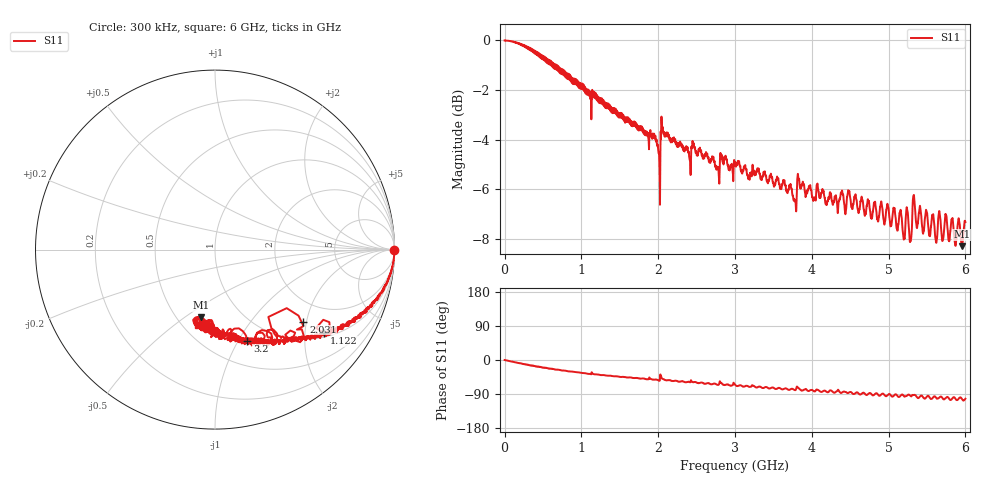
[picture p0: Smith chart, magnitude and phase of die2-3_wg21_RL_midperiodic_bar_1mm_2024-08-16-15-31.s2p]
!Keysight Technologies,P9374A,MY57304198,A.17.20.09
!Date: Friday, August 16, 2024 15:31:15
!Correction: S11(C  1-Port  )
!S21(C  1-Port  )
!S12(Off)
!S22(Off)
!S2P File: Measurements: S11, S21, S12, S22:
# Hz S  dB  R 50
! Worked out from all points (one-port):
!   6000 points, 300 kHz to 6 GHz, reference 50 ohm
!   lowest |S11| = -8.3 dB at 5.952 GHz (marker M1), VSWR 2.25, Z = 32.6 - j28.8 ohm
!   |S11| at or under -10 dB: nowhere
!   S11 on the Smith chart (normalised r, x): 300 kHz: open; 1.122 GHz: 1.13, -2.51; 2.031 GHz: 1.43, -1.91; 3.2 GHz: 0.76, -1.09; 6 GHz: 0.60, -0.62
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300000  0.00 -0.0  -200.00 45.0  -200.00 45.0  -200.00 45.0
4.913573e8  -0.60 -19.3  -200.00 45.0  -200.00 45.0  -200.00 45.0
1.000417e9  -1.92 -34.2  -200.00 45.0  -200.00 45.0  -200.00 45.0
1.122431e9  -2.34 -37.4  -200.00 45.0  -200.00 45.0  -200.00 45.0
1.936526e9  -3.89 -51.8  -200.00 45.0  -200.00 45.0  -200.00 45.0
2.000533e9  -4.42 -53.3  -200.00 45.0  -200.00 45.0  -200.00 45.0
2.030537e9  -3.95 -39.2  -200.00 45.0  -200.00 45.0  -200.00 45.0
2.05654e9  -3.54 -49.8  -200.00 45.0  -200.00 45.0  -200.00 45.0
2.112546e9  -3.83 -53.5  -200.00 45.0  -200.00 45.0  -200.00 45.0
2.765623e9  -5.08 -65.6  -200.00 45.0  -200.00 45.0  -200.00 45.0
2.82563e9  -4.73 -61.0  -200.00 45.0  -200.00 45.0  -200.00 45.0
3.00065e9  -5.01 -64.8  -200.00 45.0  -200.00 45.0  -200.00 45.0
3.199673e9  -5.34 -70.5  -200.00 45.0  -200.00 45.0  -200.00 45.0
3.766739e9  -6.45 -78.2  -200.00 45.0  -200.00 45.0  -200.00 45.0
3.825746e9  -5.52 -73.5  -200.00 45.0  -200.00 45.0  -200.00 45.0
3.869751e9  -5.84 -80.6  -200.00 45.0  -200.00 45.0  -200.00 45.0
4.000767e9  -6.22 -78.9  -200.00 45.0  -200.00 45.0  -200.00 45.0
5.000883e9  -6.79 -90.4  -200.00 45.0  -200.00 45.0  -200.00 45.0
5.279916e9  -8.11 -93.5  -200.00 45.0  -200.00 45.0  -200.00 45.0
5.334922e9  -6.41 -92.0  -200.00 45.0  -200.00 45.0  -200.00 45.0
5.951994e9  -8.28 -101.9  -200.00 45.0  -200.00 45.0  -200.00 45.0
6e9  -7.31 -102.1  -200.00 45.0  -200.00 45.0  -200.00 45.0
